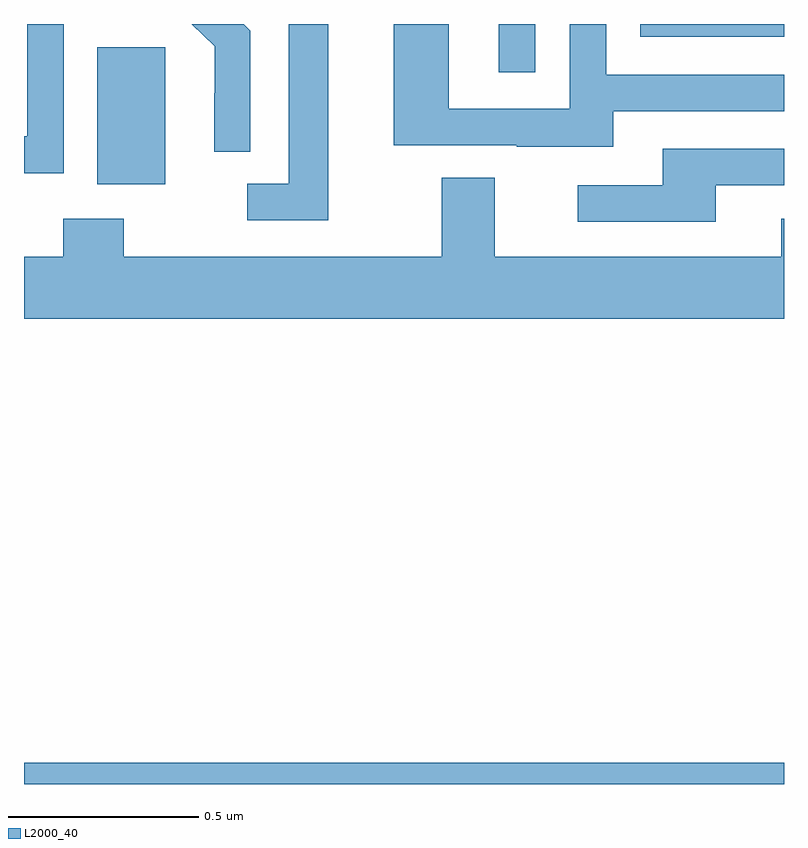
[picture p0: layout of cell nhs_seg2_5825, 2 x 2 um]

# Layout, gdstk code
import gdstk
lib = gdstk.Library(unit=1e-6, precision=1e-09)
def R(c, l, rs):  # rectangles x0, y0, x1, y1
    for r in rs: c.add(gdstk.rectangle(r[:2], r[2:], *l))
def P(c, l, *ps):  # polygons
    for p in ps: c.add(gdstk.Polygon(p, *l))
L2000_40 = (2000, 40)

nhs_seg2_5825 = lib.new_cell('nhs_seg2_5825')
R(nhs_seg2_5825, L2000_40, [(184,591.8,186,591.856), (184.193,593.378,184.372,593.739), (185.249,593.673,185.346,593.8), (185.622,593.766,186,593.8)])
P(nhs_seg2_5825, L2000_40, [(184.104,593.8),(184.008,593.8),(184.008,593.505),(184,593.505),(184,593.407),(184.104,593.407)],
  [(184.596,593.782),(184.578,593.8),(184.442,593.8),(184.502,593.741),(184.502,593.618),(184.5,593.618),(184.5,593.464),(184.596,593.464)],
  [(185.551,593.571),(186,593.571),(186,593.667),(185.532,593.667),(185.532,593.8),(185.436,593.8),(185.436,593.577),(185.118,593.577),(185.118,593.8),(184.973,593.8),(184.973,593.481),(185.297,593.481),(185.297,593.477),(185.551,593.477)],
  [(184.801,593.8),(184.697,593.8),(184.697,593.379),(184.587,593.379),(184.587,593.283),(184.801,593.283)],
  [(185.821,593.376),(186,593.376),(186,593.472),(185.681,593.472),(185.681,593.376),(185.457,593.376),(185.457,593.28),(185.821,593.28)],
  [(186,593.287),(185.993,593.287),(185.993,593.188),(185.239,593.188),(185.239,593.396),(185.099,593.396),(185.099,593.188),(184.263,593.188),(184.263,593.287),(184.103,593.287),(184.103,593.188),(184,593.188),(184,593.024),(186,593.024)])

lib.write_gds('nhs_seg2_5825.gds')
